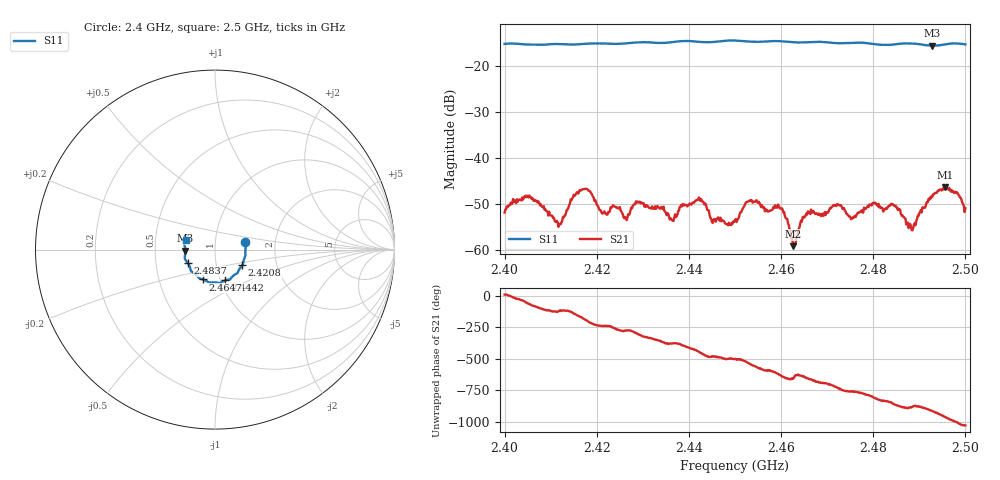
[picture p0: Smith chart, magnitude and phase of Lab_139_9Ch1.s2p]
# Hz S RI R 50
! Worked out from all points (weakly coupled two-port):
!   601 points, 2.4 GHz to 2.5 GHz, reference 50 ohm
!   highest |S21| = -46.39 dB at 2.4957 GHz (marker M1); lowest = -59.1 dB at 2.4627 GHz (marker M2)
!   lowest |S11| = -15.6 dB at 2.4928 GHz (marker M3), VSWR 1.40, Z = 35.8 - j0.38 ohm
!   |S11| at or under -10 dB: start of sweep to end of sweep
!   S12 and S22 are empty: the file has one direction only
!   S11 on the Smith chart (normalised r, x): 2.4 GHz: 1.40, +0.12; 2.4208 GHz: 1.33, -0.24; 2.4442 GHz: 1.05, -0.37; 2.4647 GHz: 0.83, -0.29; 2.4837 GHz: 0.73, -0.11; 2.5 GHz: 0.72, +0.08
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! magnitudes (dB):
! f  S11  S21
! 2.4 GHz  -15.2  -51.8
! 2.405 GHz  -15.4  -48.2
! 2.412 GHz  -15.3  -54.2
! 2.4167 GHz  -15.3  -47.0
! 2.4208 GHz  -15.1  -51.3
! 2.4333 GHz  -15.0  -50.6
! 2.4363 GHz  -14.9  -53.5
! 2.4422 GHz  -14.8  -48.6
! 2.4442 GHz  -14.9  -51.3
! 2.45 GHz  -14.5  -53.5
! 2.453 GHz  -14.7  -49.4
! 2.4592 GHz  -14.6  -50.7
! 2.4627 GHz  -14.9  -59.1
! 2.4647 GHz  -14.9  -52.9
! 2.4667 GHz  -14.8  -51.9
! 2.4757 GHz  -15.0  -52.8
! 2.4833 GHz  -15.5  -50.4
! 2.4837 GHz  -15.4  -50.3
! 2.4882 GHz  -15.1  -54.8
! 2.4928 GHz  -15.6  -48.4
! 2.4957 GHz  -15.3  -46.4
! 2.5 GHz  -15.3  -50.9
